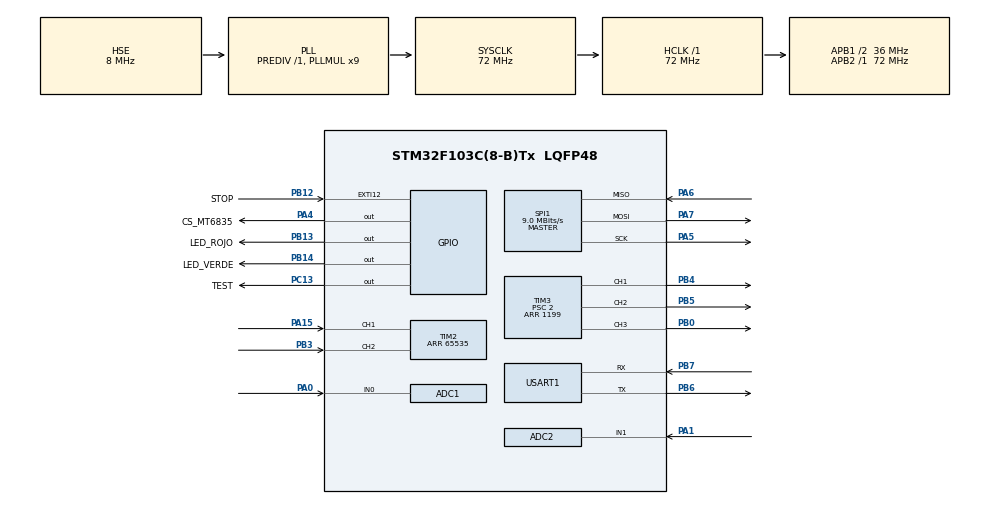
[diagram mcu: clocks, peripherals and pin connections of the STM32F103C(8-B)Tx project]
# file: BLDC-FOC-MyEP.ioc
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ADC1.Channel-1\#ChannelRegularConversion=ADC_CHANNEL_0
ADC1.ContinuousConvMode=DISABLE
ADC1.EnableInjectedConversion=DISABLE
ADC1.ExternalTrigConv=ADC_EXTERNALTRIGCONV_T3_TRGO
ADC1.ExternalTrigInjecConv=ADC_INJECTED_SOFTWARE_START
ADC1.InjNumberOfConversion=1
ADC1.Mode=ADC_DUALMODE_REGSIMULT
ADC1.NbrOfConversion=1
ADC1.NbrOfConversionFlag=1
ADC1.Rank-1\#ChannelRegularConversion=1
ADC1.SamplingTime-1\#ChannelRegularConversion=ADC_SAMPLETIME_239CYCLES_5
ADC1.master=1
ADC2.Channel-0\#ChannelRegularConversion=ADC_CHANNEL_1
ADC2.ContinuousConvMode=DISABLE
ADC2.EnableInjectedConversion=DISABLE
ADC2.InjNumberOfConversion=1
ADC2.Mode=ADC_DUALMODE_REGSIMULT
ADC2.NbrOfConversionFlag=1
ADC2.Rank-0\#ChannelRegularConversion=1
ADC2.SamplingTime-0\#ChannelRegularConversion=ADC_SAMPLETIME_239CYCLES_5
Dma.ADC1.0.Direction=DMA_PERIPH_TO_MEMORY
Dma.ADC1.0.Instance=DMA1_Channel1
Dma.ADC1.0.MemDataAlignment=DMA_MDATAALIGN_WORD
Dma.ADC1.0.MemInc=DMA_MINC_ENABLE
Dma.ADC1.0.Mode=DMA_CIRCULAR
Dma.ADC1.0.PeriphDataAlignment=DMA_PDATAALIGN_WORD
Dma.ADC1.0.PeriphInc=DMA_PINC_DISABLE
Dma.ADC1.0.Priority=DMA_PRIORITY_VERY_HIGH
Dma.Request0=ADC1
Dma.Request1=USART1_RX
Dma.USART1_RX.1.Direction=DMA_PERIPH_TO_MEMORY
Dma.USART1_RX.1.Instance=DMA1_Channel5
Dma.USART1_RX.1.MemDataAlignment=DMA_MDATAALIGN_BYTE
Dma.USART1_RX.1.MemInc=DMA_MINC_ENABLE
Dma.USART1_RX.1.Mode=DMA_NORMAL
Dma.USART1_RX.1.PeriphDataAlignment=DMA_PDATAALIGN_BYTE
Dma.USART1_RX.1.PeriphInc=DMA_PINC_DISABLE
Dma.USART1_RX.1.Priority=DMA_PRIORITY_LOW
FREERTOS.Tasks01=state_machine,55,96,sm,Default,NULL,Dynamic,NULL,NULL;cli,24,256,consola,Default,NULL,Dynamic,NULL,NULL
FREERTOS.configCHECK_FOR_STACK_OVERFLOW=2
FREERTOS.configMINIMAL_STACK_SIZE=64
FREERTOS.configTOTAL_HEAP_SIZE=4096
FREERTOS.configUSE_NEWLIB_REENTRANT=1
Mcu.Family=STM32F1
Mcu.Name=STM32F103C(8-B)Tx
Mcu.Package=LQFP48
NVIC.ADC1_2_IRQn=true\:5\:0\:false\:false\:true\:true\:true\:true\:true
NVIC.DMA1_Channel1_IRQn=true\:5\:0\:false\:false\:true\:true\:false\:true\:true
NVIC.DMA1_Channel5_IRQn=true\:5\:0\:false\:false\:true\:true\:false\:true\:true
NVIC.EXTI15_10_IRQn=true\:5\:0\:false\:false\:true\:true\:true\:true\:true
NVIC.PriorityGroup=NVIC_PRIORITYGROUP_4
NVIC.TIM1_UP_IRQn=true\:5\:0\:true\:false\:true\:true\:true\:true\:true
NVIC.TIM2_IRQn=true\:5\:0\:false\:false\:true\:true\:true\:true\:true
NVIC.TIM3_IRQn=true\:5\:0\:true\:false\:true\:true\:true\:true\:true
NVIC.TIM4_IRQn=true\:15\:0\:false\:false\:true\:false\:false\:true\:true
NVIC.TimeBase=TIM4_IRQn
NVIC.TimeBaseIP=TIM4
NVIC.USART1_IRQn=true\:5\:0\:false\:false\:true\:true\:true\:true\:true
PA0-WKUP.Signal=ADCx_IN0
PA1.Signal=ADCx_IN1
PA13.Mode=Serial_Wire
PA13.Signal=SYS_JTMS-SWDIO
PA14.Mode=Serial_Wire
PA14.Signal=SYS_JTCK-SWCLK
PA15.Signal=S_TIM2_CH1_ETR
PA4.GPIO_Label=CS_MT6835
PA4.GPIO_PuPd=GPIO_PULLDOWN
PA4.Signal=GPIO_Output
PA5.Mode=Full_Duplex_Master
PA5.Signal=SPI1_SCK
PA6.Mode=Full_Duplex_Master
PA6.Signal=SPI1_MISO
PA7.Mode=Full_Duplex_Master
PA7.Signal=SPI1_MOSI
PB0.Signal=S_TIM3_CH3
PB12.GPIO_Label=STOP
PB12.Signal=GPXTI12
PB13.GPIO_Label=LED_ROJO
PB13.GPIO_PuPd=GPIO_PULLDOWN
PB13.Signal=GPIO_Output
PB14.GPIO_Label=LED_VERDE
PB14.GPIO_PuPd=GPIO_PULLDOWN
PB14.Signal=GPIO_Output
PB3.Signal=S_TIM2_CH2
PB4.Signal=S_TIM3_CH1
PB5.Signal=S_TIM3_CH2
PB6.Mode=Asynchronous
PB6.Signal=USART1_TX
PB7.Mode=Asynchronous
PB7.Signal=USART1_RX
PC13-TAMPER-RTC.GPIO_Label=TEST
PC13-TAMPER-RTC.GPIO_PuPd=GPIO_PULLDOWN
PC13-TAMPER-RTC.Signal=GPIO_Output
PD0-OSC_IN.Mode=HSE-External-Oscillator
PD0-OSC_IN.Signal=RCC_OSC_IN
PD1-OSC_OUT.Mode=HSE-External-Oscillator
PD1-OSC_OUT.Signal=RCC_OSC_OUT
ProjectManager.HeapSize=0x200
ProjectManager.StackSize=0x400
ProjectManager.TargetToolchain=STM32CubeIDE
RCC.ADCPresc=RCC_ADCPCLK2_DIV6
RCC.AHBFreq_Value=72000000
RCC.APB1CLKDivider=RCC_HCLK_DIV2
RCC.APB1Freq_Value=36000000
RCC.APB1TimFreq_Value=72000000
RCC.APB2Freq_Value=72000000
RCC.APB2TimFreq_Value=72000000
RCC.HCLKFreq_Value=72000000
RCC.PLLMUL=RCC_PLL_MUL9
RCC.PLLSourceVirtual=RCC_PLLSOURCE_HSE
RCC.SYSCLKFreq_VALUE=72000000
RCC.SYSCLKSource=RCC_SYSCLKSOURCE_PLLCLK
RCC.USBFreq_Value=72000000
SH.ADCx_IN0.0=ADC1_IN0,IN0
SH.ADCx_IN1.0=ADC2_IN1,IN1
SH.S_TIM2_CH1_ETR.0=TIM2_CH1,Encoder_Interface
SH.S_TIM2_CH2.0=TIM2_CH2,Encoder_Interface
SH.S_TIM3_CH1.0=TIM3_CH1,PWM Generation1 CH1
SH.S_TIM3_CH2.0=TIM3_CH2,PWM Generation2 CH2
SH.S_TIM3_CH3.0=TIM3_CH3,PWM Generation3 CH3
SPI1.BaudRatePrescaler=SPI_BAUDRATEPRESCALER_8
SPI1.CLKPhase=SPI_PHASE_2EDGE
SPI1.CLKPolarity=SPI_POLARITY_HIGH
SPI1.CalculateBaudRate=9.0 MBits/s
SPI1.Direction=SPI_DIRECTION_2LINES
SPI1.Mode=SPI_MODE_MASTER
SPI1.VirtualType=VM_MASTER
TIM1.AutoReloadPreload=TIM_AUTORELOAD_PRELOAD_ENABLE
TIM1.Period=35999
TIM1.Prescaler=1
TIM1.TIM_MasterOutputTrigger=TIM_TRGO_UPDATE
TIM2.EncoderMode=TIM_ENCODERMODE_TI12
TIM2.Period=65535
TIM3.AutoReloadPreload=TIM_AUTORELOAD_PRELOAD_ENABLE
TIM3.Channel-PWM\ Generation1\ CH1=TIM_CHANNEL_1
TIM3.Channel-PWM\ Generation2\ CH2=TIM_CHANNEL_2
TIM3.Channel-PWM\ Generation3\ CH3=TIM_CHANNEL_3
TIM3.CounterMode=TIM_COUNTERMODE_CENTERALIGNED1
TIM3.Period=1199
TIM3.Prescaler=2
TIM3.Pulse-PWM\ Generation2\ CH2=150
TIM3.Pulse-PWM\ Generation3\ CH3=0
TIM3.TIM_MasterOutputTrigger=TIM_TRGO_UPDATE
USART1.VirtualMode=VM_ASYNC
VP_FREERTOS_VS_CMSIS_V2.Mode=CMSIS_V2
VP_SYS_VS_tim4.Mode=TIM4
VP_TIM1_VS_ClockSourceINT.Mode=Internal
VP_TIM3_VS_ClockSourceINT.Mode=Internal
board=custom

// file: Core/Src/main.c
/* USER CODE BEGIN Header */
/**
 ******************************************************************************
 * @file           : main.c
 * @brief          : Main program body
 ******************************************************************************
 * @attention
 *
 * Copyright (c) 2025 STMicroelectronics.
 * All rights reserved.
 *
 * This software is licensed under terms that can be found in the LICENSE file
 * in the root directory of this software component.
 * If no LICENSE file comes with this software, it is provided AS-IS.
 *
 ******************************************************************************
 */
/* USER CODE END Header */
#include "main.h"
#include "cmsis_os.h"
#include "adc.h"
#include "dma.h"
#include "spi.h"
#include "tim.h"
#include "usart.h"
#include "gpio.h"

/* USER CODE BEGIN Includes */

#include <stdio.h>
#include <stdint.h>
#include <stdlib.h>
#include <string.h>
#include <ctype.h>

#include "control.h"
#include "mt6835.h"

/*
 * aber si funca
 */

/* USER CODE END Includes */

/* USER CODE BEGIN PV */

volatile uint16_t tim1OF = 0;
volatile uint16_t tim3OF = 0;
encoder_t hencoder = { 0 };
estados_e estado_sistema;
int16_t adc_offsets[2] = {0};

/* USER CODE END PV */

void SystemClock_Config(void);
void MX_FREERTOS_Init(void);

int main(void)
{

  /* MCU Configuration--------------------------------------------------------*/

  /* Reset of all peripherals, Initializes the Flash interface and the Systick. */
  HAL_Init();

  /* Configure the system clock */
  SystemClock_Config();

  /* Initialize all configured peripherals */
  MX_GPIO_Init();
  MX_DMA_Init();
  MX_SPI1_Init();
  MX_USART1_UART_Init();
  MX_ADC1_Init();
  MX_ADC2_Init();
  MX_TIM3_Init();
  MX_TIM2_Init();
  MX_TIM1_Init();

  /* Init scheduler */
  osKernelInitialize();  /* Call init function for freertos objects (in cmsis_os2.c) */
  MX_FREERTOS_Init();

  /* Start scheduler */
  osKernelStart();

  /* We should never get here as control is now taken by the scheduler */

  /* Infinite loop */
	while (1) {

	}
}

void SystemClock_Config(void)
{
  RCC_OscInitTypeDef RCC_OscInitStruct = {0};
  RCC_ClkInitTypeDef RCC_ClkInitStruct = {0};
  RCC_PeriphCLKInitTypeDef PeriphClkInit = {0};

  /** Initializes the RCC Oscillators according to the specified parameters
  * in the RCC_OscInitTypeDef structure.
  */
  RCC_OscInitStruct.OscillatorType = RCC_OSCILLATORTYPE_HSE;
  RCC_OscInitStruct.HSEState = RCC_HSE_ON;
  RCC_OscInitStruct.HSEPredivValue = RCC_HSE_PREDIV_DIV1;
  RCC_OscInitStruct.HSIState = RCC_HSI_ON;
  RCC_OscInitStruct.PLL.PLLState = RCC_PLL_ON;
  RCC_OscInitStruct.PLL.PLLSource = RCC_PLLSOURCE_HSE;
  RCC_OscInitStruct.PLL.PLLMUL = RCC_PLL_MUL9;
  if (HAL_RCC_OscConfig(&RCC_OscInitStruct) != HAL_OK)
  {
    Error_Handler();
  }

  /** Initializes the CPU, AHB and APB buses clocks
  */
  RCC_ClkInitStruct.ClockType = RCC_CLOCKTYPE_HCLK|RCC_CLOCKTYPE_SYSCLK
                              |RCC_CLOCKTYPE_PCLK1|RCC_CLOCKTYPE_PCLK2;
  RCC_ClkInitStruct.SYSCLKSource = RCC_SYSCLKSOURCE_PLLCLK;
  RCC_ClkInitStruct.AHBCLKDivider = RCC_SYSCLK_DIV1;
  RCC_ClkInitStruct.APB1CLKDivider = RCC_HCLK_DIV2;
  RCC_ClkInitStruct.APB2CLKDivider = RCC_HCLK_DIV1;

  if (HAL_RCC_ClockConfig(&RCC_ClkInitStruct, FLASH_LATENCY_2) != HAL_OK)
  {
    Error_Handler();
  }
  PeriphClkInit.PeriphClockSelection = RCC_PERIPHCLK_ADC;
  PeriphClkInit.AdcClockSelection = RCC_ADCPCLK2_DIV6;
  if (HAL_RCCEx_PeriphCLKConfig(&PeriphClkInit) != HAL_OK)
  {
    Error_Handler();
  }
}

/* USER CODE BEGIN 4 */

void init_sistema() {
	mensaje_t mensaje = { 0 };
	HAL_StatusTypeDef error;

	// INIT ENCODER
	error = init_encoder(&hspi1, CS_MT6835_GPIO_Port, CS_MT6835_Pin, &hencoder, ABZ_RES,
						 MT6835_ABZ_NO_SWAP, MT6835_ZRE, MT6835_Z_WIDTH_1LSB, MT6835_Z_ARE,
						 MT6835_CCW_BA);

	if (error != HAL_OK) {
		mensaje.estado = FAULT;
		mensaje.origen = ENC_INIT;
		mensaje.error = error;
		xQueueSend(cola_estados, &mensaje, 1000);
		return;
	}

	// INIT ADCs
	error = HAL_ADCEx_Calibration_Start(&hadc1);

	if (error != HAL_OK) {
		mensaje.estado = FAULT;
		mensaje.origen = ADC1_CAL;
		mensaje.error = error;
		xQueueSend(cola_estados, &mensaje, 1000);
		return;
	}

	error = HAL_ADCEx_Calibration_Start(&hadc2);

	if (error != HAL_OK) {
		mensaje.estado = FAULT;
		mensaje.origen = ADC2_CAL;
		mensaje.error = error;
		xQueueSend(cola_estados, &mensaje, 1000);
		return;
	}

	error = HAL_ADC_Start(&hadc2);

	if (error != HAL_OK) {
		mensaje.estado = FAULT;
		mensaje.origen = ADC_2;
		mensaje.error = error;
		xQueueSend(cola_estados, &mensaje, 1000);
		return;
	}

	error = HAL_ADCEx_MultiModeStart_DMA(&hadc1, &lecturas_adcs, 1);

	if (error != HAL_OK) {
		mensaje.estado = FAULT;
		mensaje.origen = ADC_MM;
		mensaje.error = error;
		xQueueSend(cola_estados, &mensaje, 1000);
		return;
	}

	// Timer 3 para PWM de las fases
	error = HAL_TIM_PWM_Start(&htim3, TIM_CHANNEL_1);

	if (error != HAL_OK) {
		mensaje.estado = FAULT;
		mensaje.origen = PWM1;
		mensaje.error = error;
		xQueueSend(cola_estados, &mensaje, 1000);
		return;
	}

	error = HAL_TIM_PWM_Start(&htim3, TIM_CHANNEL_2);

	if (error != HAL_OK) {
		mensaje.estado = FAULT;
		mensaje.origen = PWM2;
		mensaje.error = error;
		xQueueSend(cola_estados, &mensaje, 1000);
		return;
	}

	error = HAL_TIM_PWM_Start(&htim3, TIM_CHANNEL_3);

	if (error != HAL_OK) {
		mensaje.estado = FAULT;
		mensaje.origen = PWM3;
		mensaje.error = error;
		xQueueSend(cola_estados, &mensaje, 1000);
		return;
	}

	__HAL_TIM_SET_COMPARE(&htim3, TIM_CHANNEL_1, 0);
	__HAL_TIM_SET_COMPARE(&htim3, TIM_CHANNEL_2, 0);
	__HAL_TIM_SET_COMPARE(&htim3, TIM_CHANNEL_3, 0);

	// UART con DMA para recibir comandos desde PC
	// Deshabilito interrupcion por half-transmit
	error = HAL_UARTEx_ReceiveToIdle_DMA(&huart1, buffer_rx, RX_SIZE);
	__HAL_DMA_DISABLE_IT(&hdma_usart1_rx, DMA_IT_HT);

	if (error != HAL_OK) {
		mensaje.estado = FAULT;
		mensaje.origen = UART_RX;
		mensaje.error = error;
		xQueueSend(cola_estados, &mensaje, 1000);
		return;
	}

	init_controlador(&controlador);
	init_interpolador(&interpolador);

	// Alineo eje d con fase A para hacer 0
	error = alinear_rotor();

	if (error != HAL_OK) {
		mensaje.estado = FAULT;
		// Encoder no devuelve 0x55 luego de enviar comando para hacer zero
		mensaje.origen = ENC_INIT;
		mensaje.error = error;
		xQueueSend(cola_estados, &mensaje, 1000);
	}

	// Timer 2 para encoder
	error = HAL_TIM_Encoder_Start(&htim2, TIM_CHANNEL_ALL);

	if (error != HAL_OK) {
		mensaje.estado = FAULT;
		mensaje.origen = TIMER2;
		mensaje.error = error;
		xQueueSend(cola_estados, &mensaje, 1000);
		return;
	}
	// Luego de hacer 0, hago las corrientes 0 para calibrar ADCs
	__HAL_TIM_SET_COMPARE(&htim3, TIM_CHANNEL_1, 0);

	// Pongo el 0 de la posicion en la mitad del timer para tener valores positivos y negativos
	__HAL_TIM_SET_COUNTER(&htim2, 32768);
	__HAL_TIM_ENABLE_IT(&htim2, TIM_IT_UPDATE);

	osDelay(1000);

	get_adc_offsets();

	mensaje.estado = IDLE;
	xQueueSend(cola_estados, &mensaje, 1000);
}

void fault_handler(mensaje_t *mensaje) {
	char cadena[64];
	int len;

	switch (mensaje->origen) {
		case CORRIENTES:
			// Deshabilito PWMs e interrupciones para lazos de control
			HAL_TIM_PWM_Stop(&htim3, TIM_CHANNEL_1);
			__HAL_TIM_SET_COMPARE(&htim3, TIM_CHANNEL_1, 0);
			HAL_TIM_PWM_Stop(&htim3, TIM_CHANNEL_2);
			__HAL_TIM_SET_COMPARE(&htim3, TIM_CHANNEL_2, 0);
			HAL_TIM_PWM_Stop(&htim3, TIM_CHANNEL_3);
			__HAL_TIM_SET_COMPARE(&htim3, TIM_CHANNEL_3, 0);

			HAL_TIM_Base_Stop_IT(&htim3);

			HAL_TIM_Base_Stop_IT(&htim1);

			len = snprintf(cadena, sizeof(cadena), "\nE: SOBRECORRIENTE\n");
			HAL_UART_Transmit(&huart1, (uint8_t*) cadena, len, 1000);
			break;

		case ENC_INIT:
			len = snprintf(cadena, sizeof(cadena), "\nE: Encoder:\n%u\n%u\n%u\n%u\n%u\n%u\n", hencoder.abz_res, hencoder.abz_swap, hencoder.z_edge,
																							hencoder.z_width, hencoder.z_phase, hencoder.rot_dir);
			HAL_UART_Transmit(&huart1, (uint8_t*) cadena, len, 1000);
			break;

		case ADC1_CAL:
			len = snprintf(cadena, sizeof(cadena), "\nE: ADC1 CAL (%d)\n", mensaje->error);
			HAL_UART_Transmit(&huart1, (uint8_t*) cadena, len, 1000);
			break;

		case ADC2_CAL:
			len = snprintf(cadena, sizeof(cadena), "\nE: ADC2 CAL (%d)\n", mensaje->error);
			HAL_UART_Transmit(&huart1, (uint8_t*) cadena, len, 1000);
			break;

		case ADC_2:
			len = snprintf(cadena, sizeof(cadena), "\nE: ADC2 Start (%d)\n", mensaje->error);
			HAL_UART_Transmit(&huart1, (uint8_t*) cadena, len, 1000);
			break;

		case ADC_MM:
			len = snprintf(cadena, sizeof(cadena), "\nE: ADC MultiMode (%d)\n", mensaje->error);
			HAL_UART_Transmit(&huart1, (uint8_t*) cadena, len, 1000);
			break;

		case TIMER1:
			len = snprintf(cadena, sizeof(cadena), "\nE: Timer lazo de posicion (%d)\n", mensaje->error);
			HAL_UART_Transmit(&huart1, (uint8_t*) cadena, len, 1000);
			break;

		case TIMER2:
			len = snprintf(cadena, sizeof(cadena), "\nE: Timer encoder (%d)\n", mensaje->error);
			HAL_UART_Transmit(&huart1, (uint8_t*) cadena, len, 1000);
			break;

		case PWM1:
			len = snprintf(cadena, sizeof(cadena), "\nE: PWM 1 (%d)\n", mensaje->error);
			HAL_UART_Transmit(&huart1, (uint8_t*) cadena, len, 1000);
			break;

		case PWM2:
			len = snprintf(cadena, sizeof(cadena), "\nE: PWM 2 (%d)\n", mensaje->error);
			HAL_UART_Transmit(&huart1, (uint8_t*) cadena, len, 1000);
			break;

		case PWM3:
			len = snprintf(cadena, sizeof(cadena), "\nE: PWM 3 (%d)\n", mensaje->error);
			HAL_UART_Transmit(&huart1, (uint8_t*) cadena, len, 1000);
			break;

		case UART_RX:
			len = snprintf(cadena, sizeof(cadena), "\nE: UART RX (%d)\n", mensaje->error);
			HAL_UART_Transmit(&huart1, (uint8_t *)cadena, len, 1000);
			break;

		case CLI:
			HAL_UART_Transmit(&huart1, (uint8_t *)"\nE: CLI\n", 8, 1000);
			break;

		case ENC_OVERFLOW:
			HAL_TIM_Base_Stop_IT(&htim3);
			HAL_TIM_Base_Stop_IT(&htim1);
			HAL_UART_Transmit(&huart1, (uint8_t *)"\nE: Overflow encoder\n", 21, 1000);
			break;

		default:
			HAL_UART_Transmit(&huart1, (uint8_t *)"\nError desconocido\n", 19, 1000);
			break;
	}
}

/* USER CODE END 4 */

void HAL_TIM_PeriodElapsedCallback(TIM_HandleTypeDef *htim)
{
  if (htim->Instance == TIM4)
  {
    HAL_IncTick();
  }
  /* USER CODE BEGIN Callback 1 */
	else if (htim->Instance == TIM3) {
		if (__HAL_TIM_IS_TIM_COUNTING_DOWN(&htim3)) {
			lazo_corriente();
		}
	}

	else if (htim->Instance == TIM1) {
		lazo_posicion();
		tim1OF++;
	}

	else if (htim->Instance == TIM2) {
		if (estado_sistema == IDLE || estado_sistema == CLOSED_LOOP) {
			mensaje_t mensaje = {
				.estado = FAULT,
				.origen = ENC_OVERFLOW
			};

			BaseType_t tarea_mayor_prioridad = pdFALSE;
			xQueueSendFromISR(cola_estados, &mensaje, &tarea_mayor_prioridad);
			portYIELD_FROM_ISR(tarea_mayor_prioridad);
		}
	}

  /* USER CODE END Callback 1 */
}

void Error_Handler(void)
{
	__disable_irq();
	while (1) {
	}
}

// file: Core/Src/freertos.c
/* USER CODE BEGIN Header */
/**
  ******************************************************************************
  * File Name          : freertos.c
  * Description        : Code for freertos applications
  ******************************************************************************
  * @attention
  *
  * Copyright (c) 2025 STMicroelectronics.
  * All rights reserved.
  *
  * This software is licensed under terms that can be found in the LICENSE file
  * in the root directory of this software component.
  * If no LICENSE file comes with this software, it is provided AS-IS.
  *
  ******************************************************************************
  */
/* USER CODE END Header */

#include "FreeRTOS.h"
#include "task.h"
#include "main.h"
#include "cmsis_os.h"

/* USER CODE BEGIN Includes */

#include <stdio.h>
#include <string.h>
#include "control.h"

/* USER CODE END Includes */

/* USER CODE BEGIN Variables */

xSemaphoreHandle semaforo_consola;
xQueueHandle cola_estados;

/* USER CODE END Variables */
/* Definitions for state_machine */
osThreadId_t state_machineHandle;
const osThreadAttr_t state_machine_attributes = {
  .name = "state_machine",
  .stack_size = 96 * 4,
  .priority = (osPriority_t) osPriorityRealtime7,
};
/* Definitions for cli */
osThreadId_t cliHandle;
const osThreadAttr_t cli_attributes = {
  .name = "cli",
  .stack_size = 256 * 4,
  .priority = (osPriority_t) osPriorityNormal,
};

void sm(void *argument);
void consola(void *argument);

void MX_FREERTOS_Init(void); /* (MISRA C 2004 rule 8.1) */

/* Hook prototypes */
void vApplicationStackOverflowHook(xTaskHandle xTask, signed char *pcTaskName);

/* USER CODE BEGIN 4 */
void vApplicationStackOverflowHook(xTaskHandle xTask, signed char *pcTaskName)
{
   /* Run time stack overflow checking is performed if
   configCHECK_FOR_STACK_OVERFLOW is defined to 1 or 2. This hook function is
   called if a stack overflow is detected. */
	char cadena[64];
	int len;

	len = snprintf(cadena, sizeof(cadena), "STACK OVERFLOW en tarea: %s\n", pcTaskName);
	HAL_UART_Transmit(&huart1, (uint8_t *)cadena, len, 1000);
	taskDISABLE_INTERRUPTS();
	while(1);
}
/* USER CODE END 4 */

void MX_FREERTOS_Init(void) {

  /* USER CODE BEGIN RTOS_SEMAPHORES */

	semaforo_consola = xSemaphoreCreateBinary();

  /* USER CODE END RTOS_SEMAPHORES */

  /* USER CODE BEGIN RTOS_QUEUES */

	cola_estados = xQueueCreate(3, sizeof(mensaje_t));

  /* USER CODE END RTOS_QUEUES */

  /* Create the thread(s) */
  /* creation of state_machine */
  state_machineHandle = osThreadNew(sm, NULL, &state_machine_attributes);

  /* creation of cli */
  cliHandle = osThreadNew(consola, NULL, &cli_attributes);

}

void sm(void *argument)
{
  /* USER CODE BEGIN sm */
	mensaje_t mensaje = {
		.estado = INIT,
		.origen = 0,
		.error = 0
	};

  /* Infinite loop */
	while (1) {
		switch (mensaje.estado) {
			case INIT:
				// Inicio encoder, ADCs y timers
				// El parametro es un puntero al buffer de rx para uart
				init_sistema();
				break;

			case IDLE:
				if (mensaje.origen == 0) {
					HAL_UART_Transmit(&huart1, (uint8_t *)"\nInicio listo\n", 14, 1000);
					HAL_GPIO_WritePin(LED_VERDE_GPIO_Port, LED_VERDE_Pin, GPIO_PIN_SET);
					xSemaphoreGive(semaforo_consola);
				}

				else if (mensaje.origen == PARADA) {
					HAL_UART_Transmit(&huart1, (uint8_t *)"\nParada de emergencia\n", 22, 1000);
				}

				else {
					HAL_UART_Transmit(&huart1, (uint8_t *)"\nLazos de control detenidos\n", 28, 1000);
				}
				break;

			case CLOSED_LOOP:
				HAL_UART_Transmit(&huart1, (uint8_t *)"\nLazos de control iniciados\n", 28, 1000);
				break;

			case FAULT:
				fault_handler(&mensaje);
				HAL_GPIO_WritePin(LED_VERDE_GPIO_Port, LED_VERDE_Pin, GPIO_PIN_RESET);
				HAL_GPIO_WritePin(LED_ROJO_GPIO_Port, LED_ROJO_Pin, GPIO_PIN_SET);
				HAL_UART_Transmit(&huart1, (uint8_t *)"\nReiniciar\n", 11, 1000);
				break;

			default:
				HAL_UART_Transmit(&huart1, (uint8_t *)"\nEstado desconocido\n", 20, 1000);
				break;
		}

		estado_sistema = mensaje.estado;

		xQueueReceive(cola_estados, &mensaje, portMAX_DELAY);
	}
  /* USER CODE END sm */
}

void consola(void *argument)
{
  /* USER CODE BEGIN consola */

	// No ejecuto la tarea hasta que termina el inicio del sistema
	xSemaphoreTake(semaforo_consola, osWaitForever);

//	const char menu[] = "\n1. Estado del sistema\n"
//					"2. Iniciar lazos de control\n"
//					"3. Parar lazos de control\n"
//					"4. Nueva consigna\n"
//					"5. Obtener posicion\n"
//					"6. Offsets ADCs\n"
//					"7. Cambiar constantes de control\n"
//					">> ";

//	uint16_t len_menu = strlen(menu);

	char cadena[64];
	int len;

  /* Infinite loop */
	while (1) {
		HAL_UART_Transmit(&huart1, (uint8_t *)"\n>> ", 4, 1000);

		xSemaphoreTake(semaforo_consola, osWaitForever);

		switch (buffer_rx[0]) {
			case '1':
				len = snprintf(cadena, sizeof(cadena), "\nEstado: %u", estado_sistema);
				HAL_UART_Transmit(&huart1, (uint8_t *)cadena, len, 1000);
				break;

			case '2':
				init_lazos_control();
				break;

			case '3':
				deinit_lazos_control();
				break;

			case '4':
				set_posicion_final_nueva();
				len = snprintf(cadena, sizeof(cadena), "\n%ld\n", interpolador.fx_posicion_final);
				HAL_UART_Transmit(&huart1, (uint8_t *)cadena, len, 1000);
				break;

			case '5':
				len = snprintf(cadena, sizeof(cadena), "\nPosicion: %ld (Q15.16)\n", get_fx_position());
				HAL_UART_Transmit(&huart1, (uint8_t *)cadena, len, 1000);
				break;

			case '6':
				modificar_constantes();
				len = snprintf(cadena, sizeof(cadena), "\n%ld\n%ld\n%ld\n%ld\n%ld\n", controlador.fx_P,
																					controlador.fx_I,
																					controlador.fx_D,
																					controlador.fx_Pq,
																					controlador.fx_Pd);

				HAL_UART_Transmit(&huart1, (uint8_t *)cadena, len, 1000);
				break;

			default:
				len = snprintf(cadena, sizeof(cadena), "\nRX: %s\n", (char *)buffer_rx);
				HAL_UART_Transmit(&huart1, (uint8_t *)cadena, len, 1000);
				break;
		}

	}
  /* USER CODE END consola */
}
